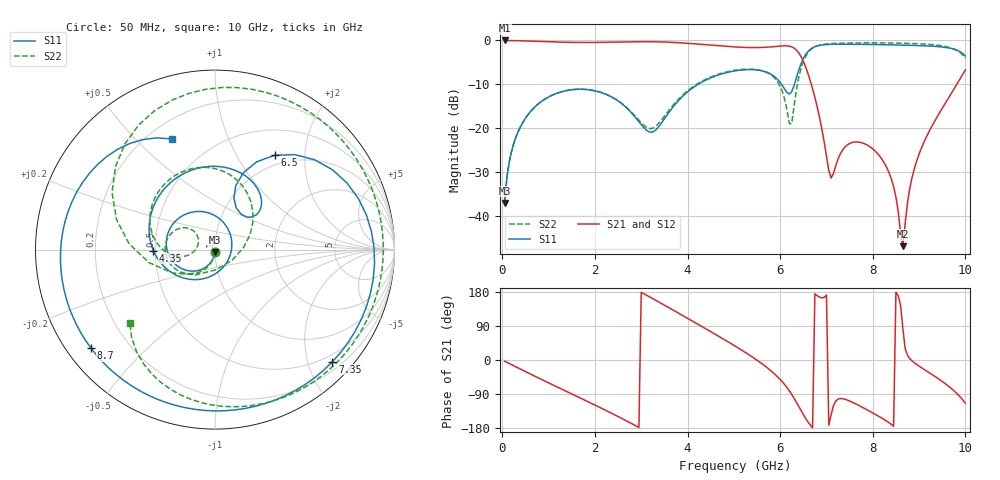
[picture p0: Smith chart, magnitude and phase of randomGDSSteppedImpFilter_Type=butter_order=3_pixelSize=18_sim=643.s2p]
! freq	dB(S11)	phase(S11)	dB(S12)	phase(S12)
!  dB(S21)	phase(S21)	dB(S22)	phase(S22)
!S-par simulation data
#  GHz  S  DB  R 50
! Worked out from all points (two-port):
!   200 points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, 50 MHz to 10 GHz, reference 50 ohm
!   highest |S21| = -0.01 dB at 50 MHz (marker M1); lowest = -46.9 dB at 8.65 GHz (marker M2)
!   |S21| within 3 dB of the highest: start of sweep to 6.411 GHz
!   lowest |S11| = -37.1 dB at 50 MHz (marker M3), VSWR 1.03, Z = 49.9 - j1.4 ohm
!   |S11| at or under -10 dB: start of sweep to 4.231 GHz; 6.028 GHz to 6.309 GHz (281.1 MHz wide, 4.56 % of centre)
!   |S22| runs from -37.1 to -0.6 dB; largest |S21 - S12| = 0
!   S11 on the Smith chart (normalised r, x): 50 MHz: 1.00, -0.03; 4.35 GHz: 0.49, -0.01; 6.5 GHz: 0.85, +1.46; 7.35 GHz: 0.36, -2.45; 8.7 GHz: 0.07, -0.35; 10 GHz: 0.29, +0.64
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0.05  -37.08 -91.4  -0.01 -3.1  -0.01 -3.1  -37.08 -91.0
0.2  -25.30 -103.2  -0.03 -12.3  -0.03 -12.3  -25.30 -101.6
0.5  -17.76 -123.2  -0.11 -30.6  -0.11 -30.6  -17.75 -118.9
1.15  -12.17 -165.2  -0.36 -69.2  -0.36 -69.2  -12.16 -154.4
1.75  -11.15 155.5  -0.47 -104.1  -0.47 -104.1  -11.14 175.3
2.7  -15.55 77.7  -0.33 -161.8  -0.33 -161.8  -15.42 139.4
3.4  -19.40 -63.8  -0.33 151.7  -0.33 151.7  -18.67 -175.4
4.35  -9.29 -179.0  -0.95 85.5  -0.95 85.5  -9.09 168.0
5.05  -6.91 120.2  -1.51 35.1  -1.51 35.1  -6.76 129.0
5.8  -7.70 54.5  -1.48 -28.4  -1.48 -28.4  -7.85 72.0
6.25  -11.71 62.7  -1.47 -90.8  -1.47 -90.8  -19.00 -86.1
6.5  -4.12 57.7  -4.75 -143.7  -4.75 -143.7  -4.82 163.0
6.7  -1.68 26.7  -11.03 -179.0  -11.03 -179.0  -1.78 121.4
7.1  -0.90 -20.8  -31.39 -144.7  -31.39 -144.7  -0.72 72.2
7.35  -0.87 -43.7  -24.97 -102.1  -24.97 -102.1  -0.62 51.0
7.85  -0.91 -82.9  -23.70 -129.7  -23.70 -129.7  -0.56 15.7
8.35  -1.00 -118.0  -30.16 -165.3  -30.16 -165.3  -0.58 -16.1
8.65  -1.07 -138.2  -46.93 83.1  -46.93 83.1  -0.63 -34.7
8.7  -1.09 -141.5  -41.72 30.0  -41.72 30.0  -0.65 -37.7
8.95  -1.17 -158.4  -27.44 -12.0  -27.44 -12.0  -0.74 -53.4
9.45  -1.46 165.4  -16.37 -52.3  -16.37 -52.3  -1.17 -87.2
10  -3.59 111.2  -6.75 -114.1  -6.75 -114.1  -4.09 -139.4
